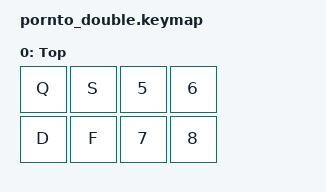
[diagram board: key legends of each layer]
#include <behaviors.dtsi>
#include <dt-bindings/zmk/keys.h>

/ {
    keymap {
        compatible = "zmk,keymap";

        default_layer { // Layer 0
            display-name = "Base";
            // -------------------------------------
            // ||     A     |    Z    ||          ||     1     |    2    ||
            // ||    E      |    R    ||          ||     3     |    4    ||


            bindings = <
                &kp A     &kp Z       &kp N1   &kp N2 
                &lt 1 E   &kp R       &kp N3   &kp N4
            >;
        };

        default_layer { // Layer 1
            display-name = "Top";
            // -------------------------------------
            // ||     Q     |    S    ||          ||     5     |    6    ||
            // ||    D      |    F    ||          ||     7     |    8    ||


            bindings = <
                &kp Q   &kp S       &kp N5   &kp N6 
                &kp D   &kp F       &kp N7   &kp N8
            >;
        };
    };
 };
